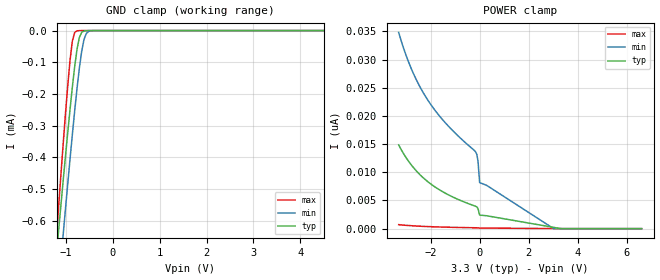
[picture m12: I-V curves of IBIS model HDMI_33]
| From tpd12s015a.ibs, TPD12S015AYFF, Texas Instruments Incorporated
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[Model]   HDMI_33
Model_type   Input
Vinl = 0.4V
Vinh = 1.0V
|   typ   min   max
C_comp   0.2533pF   0.2533pF   0.2533pF
[Voltage Range]   3.300V   3.000V   3.600V
|Junction temperature
[Temperature Range]   40.0   100.0   -40.0
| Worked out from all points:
|   GND clamp passes 1 mA (typ) near -1.38 V on its own axis
|ambient temperature   25   85   -40|
[GND Clamp]
|   Voltage   I(typ)   I(min)   I(max)
-3.3V     -4.308mA   -4.62mA    -5.265mA
-1.211V   -721uA     -901.9uA   -670.5uA
-1.161V   -639.5uA   -817.1uA   -566.8uA
-1.061V   -478.9uA   -649.5uA   -364.4uA
-961.8mV  -323.5uA   -485.7uA   -175.8uA
-862.3mV  -178.4uA   -328.3uA   -32.85uA
-812.6mV  -113.6uA   -253.4uA   -5.798uA
-762.8mV  -59.07uA   -182.8uA   -709.2nA
-713.1mV  -21.9uA    -118.8uA   -74.84nA
-613.6mV  -1.158uA   -27.88uA   -601.1pA
-464.3mV  -6.544nA   -655.5nA   -8.335pA
6.6V      0A         0A         0A
[POWER Clamp]
|   Voltage   I(typ)   I(min)   I(max)
-3.3V     14.87nA    34.84nA    709.5pA
-3.051V   12.97nA    31.41nA    609.4pA
-2.803V   11.41nA    28.57nA    528.3pA
-2.156V   8.489nA    23.12nA    378.4pA
-1.36V    6.204nA    18.61nA    263.9pA
-165.8mV  3.971nA    13.64nA    156.4pA
-116.1mV  3.856nA    13.2nA     152.4pA
-66.33mV  3.549nA    11.95nA    144.7pA
0V        2.407nA    8.17nA     102.2pA
281.9mV   2.293nA    7.697nA    97.65pA
3.018V    225.5pA    0A         17.49pA
6.6V      0A         0A         0A
